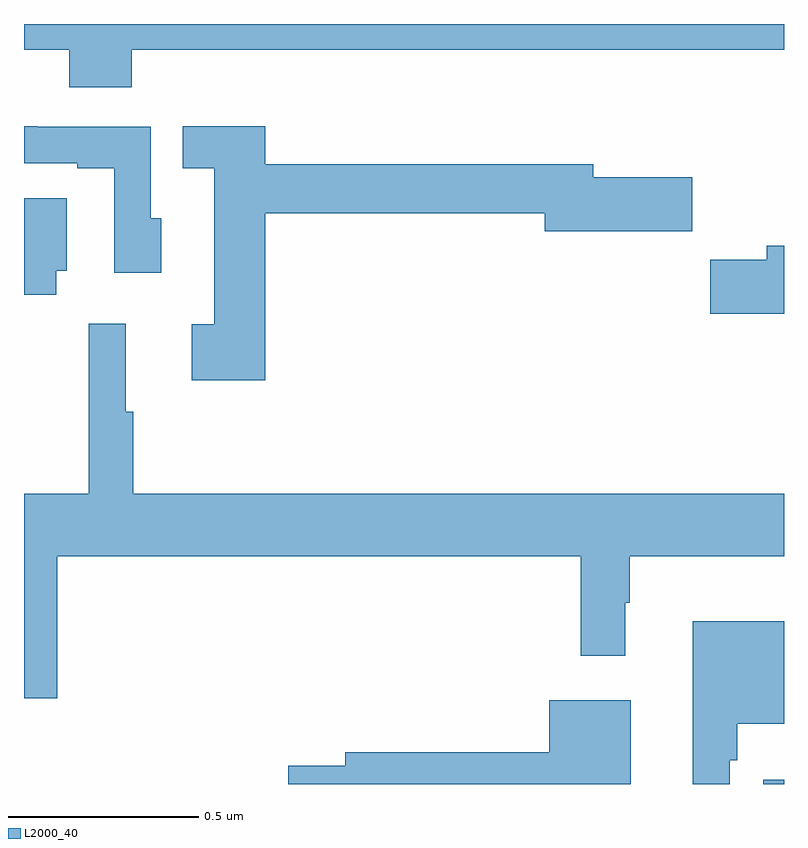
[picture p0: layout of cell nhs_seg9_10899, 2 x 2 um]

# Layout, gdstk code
import gdstk
lib = gdstk.Library(unit=1e-6, precision=1e-09)
def R(c, l, rs):  # rectangles x0, y0, x1, y1
    for r in rs: c.add(gdstk.rectangle(r[:2], r[2:], *l))
def P(c, l, *ps):  # polygons
    for p in ps: c.add(gdstk.Polygon(p, *l))
L2000_40 = (2000, 40)

nhs_seg9_10899 = lib.new_cell('nhs_seg9_10899')
R(nhs_seg9_10899, L2000_40, [(250.946,1182.5,251,1182.511)])
P(nhs_seg9_10899, L2000_40, [(249.284,1184.432),(251,1184.432),(251,1184.5),(249,1184.5),(249,1184.432),(249.119,1184.432),(249.119,1184.333),(249.284,1184.333)],
  [(249.635,1184.002),(250.37,1184.002),(250.37,1183.955),(250.759,1183.955),(250.759,1184.097),(250.498,1184.097),(250.498,1184.131),(249.635,1184.131),(249.635,1184.231),(249.418,1184.231),(249.418,1184.121),(249.5,1184.121),(249.5,1183.71),(249.441,1183.71),(249.441,1183.562),(249.635,1183.562)],
  [(249.361,1183.989),(249.333,1183.989),(249.333,1184.229),(249.035,1184.229),(249.035,1184.231),(249,1184.231),(249,1184.133),(249.14,1184.133),(249.14,1184.121),(249.237,1184.121),(249.237,1183.845),(249.361,1183.845)],
  [(249.085,1183.851),(249.112,1183.851),(249.112,1184.041),(249,1184.041),(249,1183.787),(249.085,1183.787)],
  [(251,1183.916),(250.955,1183.916),(250.955,1183.88),(250.806,1183.88),(250.806,1183.738),(251,1183.738)],
  [(249.088,1183.1),(250.465,1183.1),(250.465,1182.837),(250.582,1182.837),(250.582,1182.977),(250.594,1182.977),(250.594,1183.1),(251,1183.1),(251,1183.264),(249.287,1183.264),(249.287,1183.479),(249.268,1183.479),(249.268,1183.711),(249.17,1183.711),(249.17,1183.264),(249,1183.264),(249,1182.726),(249.088,1182.726)],
  [(250.857,1182.563),(250.877,1182.563),(250.877,1182.659),(251,1182.659),(251,1182.928),(250.76,1182.928),(250.76,1182.5),(250.857,1182.5)],
  [(250.597,1182.721),(250.382,1182.721),(250.382,1182.584),(249.845,1182.584),(249.845,1182.548),(249.696,1182.548),(249.696,1182.5),(250.597,1182.5)])

lib.write_gds('nhs_seg9_10899.gds')
